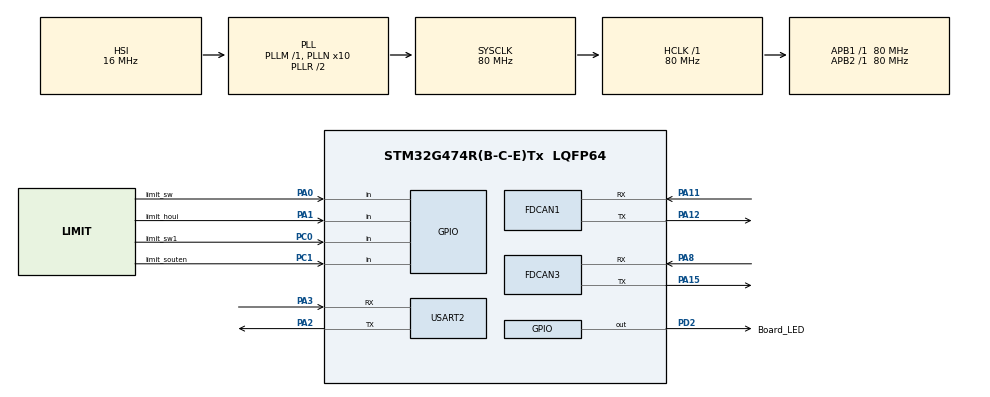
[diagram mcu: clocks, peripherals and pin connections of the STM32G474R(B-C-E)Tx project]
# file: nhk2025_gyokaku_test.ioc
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FDCAN1.CalculateBaudRateNominal=1000000
FDCAN1.CalculateTimeBitNominal=1000
FDCAN1.CalculateTimeQuantumNominal=50.0
FDCAN1.DataPrescaler=2
FDCAN1.DataTimeSeg1=15
FDCAN1.DataTimeSeg2=4
FDCAN1.FrameFormat=FDCAN_FRAME_FD_BRS
FDCAN1.NominalPrescaler=4
FDCAN1.NominalTimeSeg1=15
FDCAN1.NominalTimeSeg2=4
FDCAN1.StdFiltersNbr=1
FDCAN3.CalculateBaudRateNominal=1000000
FDCAN3.CalculateTimeBitNominal=1000
FDCAN3.CalculateTimeQuantumNominal=50.0
FDCAN3.DataPrescaler=2
FDCAN3.DataTimeSeg1=15
FDCAN3.DataTimeSeg2=4
FDCAN3.FrameFormat=FDCAN_FRAME_FD_BRS
FDCAN3.NominalPrescaler=4
FDCAN3.NominalTimeSeg1=15
FDCAN3.NominalTimeSeg2=4
FDCAN3.StdFiltersNbr=1
Mcu.Family=STM32G4
Mcu.Name=STM32G474R(B-C-E)Tx
Mcu.Package=LQFP64
NVIC.FDCAN1_IT0_IRQn=true\:0\:0\:false\:false\:true\:true\:true\:true
NVIC.FDCAN1_IT1_IRQn=true\:0\:0\:false\:false\:true\:true\:true\:true
NVIC.FDCAN3_IT0_IRQn=true\:0\:0\:false\:false\:true\:true\:true\:true
NVIC.FDCAN3_IT1_IRQn=true\:0\:0\:false\:false\:true\:true\:true\:true
NVIC.PriorityGroup=NVIC_PRIORITYGROUP_4
NVIC.TIM2_IRQn=true\:0\:0\:false\:false\:true\:true\:true\:true
NVIC.TIM6_DAC_IRQn=true\:0\:0\:false\:false\:true\:true\:true\:true
NVIC.TIM7_DAC_IRQn=true\:0\:0\:false\:false\:true\:true\:true\:true
NVIC.USART2_IRQn=true\:0\:0\:false\:false\:true\:true\:true\:true
PA0.GPIO_Label=limit_sw
PA0.GPIO_PuPd=GPIO_PULLUP
PA0.Signal=GPIO_Input
PA1.GPIO_Label=limit_houi
PA1.GPIO_PuPd=GPIO_PULLUP
PA1.Signal=GPIO_Input
PA11.Mode=FDCAN_Activate
PA11.Signal=FDCAN1_RX
PA12.Mode=FDCAN_Activate
PA12.Signal=FDCAN1_TX
PA15.Mode=FDCAN_Activate
PA15.Signal=FDCAN3_TX
PA2.Mode=Asynchronous
PA2.Signal=USART2_TX
PA3.Mode=Asynchronous
PA3.Signal=USART2_RX
PA8.Mode=FDCAN_Activate
PA8.Signal=FDCAN3_RX
PC0.GPIO_Label=limit_sw1
PC0.GPIO_PuPd=GPIO_PULLUP
PC0.Signal=GPIO_Input
PC1.GPIO_Label=limit_souten
PC1.GPIO_PuPd=GPIO_PULLUP
PC1.Signal=GPIO_Input
PD2.GPIO_Label=Board_LED
PD2.Signal=GPIO_Output
ProjectManager.HeapSize=0x200
ProjectManager.StackSize=0x400
ProjectManager.TargetToolchain=STM32CubeIDE
RCC.ADC12Freq_Value=80000000
RCC.ADC345Freq_Value=80000000
RCC.AHBFreq_Value=80000000
RCC.APB1Freq_Value=80000000
RCC.APB1TimFreq_Value=80000000
RCC.APB2Freq_Value=80000000
RCC.APB2TimFreq_Value=80000000
RCC.CortexFreq_Value=80000000
RCC.EXTERNAL_CLOCK_VALUE=12288000
RCC.HCLKFreq_Value=80000000
RCC.HSE_VALUE=8000000
RCC.HSI48_VALUE=48000000
RCC.HSI_VALUE=16000000
RCC.LSE_VALUE=32768
RCC.PLLN=10
RCC.SYSCLKFreq_VALUE=80000000
RCC.SYSCLKSource=RCC_SYSCLKSOURCE_PLLCLK
RCC.USBFreq_Value=80000000
RCC.VCOOutputFreq_Value=160000000
TIM2.PeriodNoDither=7999
TIM2.Prescaler=9
TIM6.PeriodNoDither=7999
TIM6.Prescaler=9
TIM7.PeriodNoDither=7999
TIM7.Prescaler=9
USART2.VirtualMode-Asynchronous=VM_ASYNC
VP_SYS_VS_DBSignals.Mode=DisableDeadBatterySignals
VP_TIM2_VS_ClockSourceITR.Mode=TriggerSource_ITR0
VP_TIM2_VS_ControllerModeReset.Mode=Reset Mode
VP_TIM5_VS_ClockSourceINT.Mode=Internal
VP_TIM6_VS_ClockSourceINT.Mode=Enable_Timer
VP_TIM7_VS_ClockSourceINT.Mode=Enable_Timer
board=custom

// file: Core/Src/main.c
/* USER CODE BEGIN Header */
/**
  ******************************************************************************
  * @file           : main.c
  * @brief          : Main program body
  ******************************************************************************
  * @attention
  *
  * Copyright (c) 2024 STMicroelectronics.
  * All rights reserved.
  *
  * This software is licensed under terms that can be found in the LICENSE file
  * in the root directory of this software component.
  * If no LICENSE file comes with this software, it is provided AS-IS.
  *
  ******************************************************************************
  */
/* USER CODE END Header */
#include "main.h"

/* USER CODE BEGIN Includes */
#include <stdio.h>
#include <math.h>
/* USER CODE END Includes */

/* USER CODE BEGIN PTD */
typedef struct{
	volatile uint16_t CANID;
	volatile uint8_t motorID;
	volatile int16_t actVel;
	volatile int16_t p_actVel;
	volatile int16_t actangle;
	volatile int16_t p_actangle;
	volatile int16_t actCurrent;
	volatile int16_t cu;
	volatile float motor_pos_ref;
	volatile float motor_spd;
	volatile float motor_spd_ref;
	volatile float pos_err;
	volatile float last_pos_err;
	volatile float sum_pos_err;
	volatile float sum_err;
	volatile float output_val;
	volatile uint32_t last_update_time;
	volatile float diff_pro;
	volatile float motor_pos;
	volatile int16_t trgVel;
	volatile float hensa;
	volatile float ind;
}motor;

//1:gyukaku2:houikaku3:caych4:souten

/* USER CODE END PTD */

/* USER CODE BEGIN PD */
#define GEAR 75/9

#define true 1
#define false 0
/* USER CODE END PD */

FDCAN_HandleTypeDef hfdcan1;
FDCAN_HandleTypeDef hfdcan3;

TIM_HandleTypeDef htim2;
TIM_HandleTypeDef htim5;
TIM_HandleTypeDef htim6;
TIM_HandleTypeDef htim7;

UART_HandleTypeDef huart2;

/* USER CODE BEGIN PV */
FDCAN_TxHeaderTypeDef TxHeader;
FDCAN_RxHeaderTypeDef RxHeader;
FDCAN_TxHeaderTypeDef TxHeader_motor;
FDCAN_RxHeaderTypeDef RxHeader_motor;
FDCAN_FilterTypeDef sFilterConfig;

uint8_t TxData[8] = {};
uint8_t RxData[8] = {};
uint8_t TxData_motor[8] = {};
uint8_t RxData_motor[8] = {};

motor robomas[4] = {
		{0x201, 1, 0, 0, 0, 0, 0, 0, 0, 0, 0, 0, 0, 0, 0, 0, 0, 0, 0, 0, 0, 0},
		{0x202, 2, 0, 0, 0, 0, 0, 0, 0, 0, 0, 0, 0, 0, 0, 0, 0, 0, 0, 0, 0, 0},
		{0x203, 2, 0, 0, 0, 0, 0, 0, 0, 0, 0, 0, 0, 0, 0, 0, 0, 0, 0, 0, 0, 0},
		{0x204, 2, 0, 0, 0, 0, 0, 0, 0, 0, 0, 0, 0, 0, 0, 0, 0, 0, 0, 0, 0, 0},
};

volatile uint8_t is_Right = 0, is_Left = 0, is_Up = 0, is_Down = 0, is_Circle = 0, is_Square = 0, is_Triangle = 0;
volatile uint8_t is_Cross = 0, is_UpRight = 0, is_DownRight = 0, is_UpLeft = 0, is_DownLeft = 0, is_R1 = 0, is_L1 = 0;
volatile uint8_t is_Share = 0, is_Options = 0, is_R3 = 0, is_L3 = 0, is_PsButton = 0, is_Touchpad = 0;

volatile float k_p = 7, k_i = 0.5, k_d = 0.01;

volatile float kp = 200, ki = 0, kd = 0;
float max_sum_pos_err = 10000;
float max_output_val = 10000;

volatile float purpose[4] = {0, 0, 0, 0};
volatile float purpose_r[4] = {0,0,0,0};
volatile float purpose_v[4] = {0,0,0,0};

int8_t vel_arg = 0;
int8_t vel_arg_s = 0;

uint8_t Servo = 0;
float Servo_angle = 0;

float distance;
#define hight 0.64;

float target_angle = 0;

int dribblestate = 0;

uint8_t buffer[1] = {};
uint8_t txbuffer;
uint8_t size = 1;
int8_t datapos=0;
uint8_t data[11];

float gyoukaku = 0;
float houuikaku = 0;
int uart_state = 1;

int souten_state = 0;
uint16_t souten_time = 0;
int souten_taiki = 0;

/* USER CODE END PV */

void SystemClock_Config(void);
static void MX_GPIO_Init(void);
static void MX_FDCAN1_Init(void);
static void MX_USART2_UART_Init(void);
static void MX_FDCAN3_Init(void);
static void MX_TIM6_Init(void);
static void MX_TIM7_Init(void);
static void MX_TIM2_Init(void);
static void MX_TIM5_Init(void);

/* USER CODE BEGIN 0 */
void HAL_FDCAN_RxFifo0Callback(FDCAN_HandleTypeDef *hfdcan, uint32_t RxFifo0ITs){
	if ((RxFifo0ITs & FDCAN_IT_RX_FIFO0_NEW_MESSAGE) != RESET) {

	        /* Retrieve Rx messages from RX FIFO0 */
		if (HAL_FDCAN_GetRxMessage(&hfdcan3, FDCAN_RX_FIFO0, &RxHeader_motor, RxData_motor) != HAL_OK) {
			printf("fdcan_getrxmessage_motor is error\r\n");
			Error_Handler();
		}
		/*receive robomas's status*/
		for (int i=0; i<=7; i++){
			if (RxHeader_motor.Identifier == (robomas[i].CANID)) {
				robomas[i].actangle = (int16_t)((RxData_motor[0] << 8) | RxData_motor[1]);
				robomas[i].actVel = (int16_t)((RxData_motor[2] << 8) | RxData_motor[3]);
				robomas[i].actCurrent = (int16_t)((RxData_motor[4] << 8) | RxData_motor[5]);
			}
		}
	}
}

void HAL_FDCAN_RxFifo1Callback(FDCAN_HandleTypeDef *hfdcan, uint32_t RxFifo1ITs){
	if (RESET != (RxFifo1ITs & FDCAN_IT_RX_FIFO1_NEW_MESSAGE)) {

	        /* Retrieve Rx messages from RX FIFO0 */

		if (HAL_OK != HAL_FDCAN_GetRxMessage(&hfdcan1, FDCAN_RX_FIFO1, &RxHeader, RxData)) {
			printf("fdcan_getrxmessage is error\r\n");
			Error_Handler();
		}

		if (0x300 == RxHeader.Identifier) {
			vel_arg = (int8_t)RxData[3];
			if (vel_arg < 10 && vel_arg > -10) {
				vel_arg = 0;
			}
			purpose_r[0] -= ((float)vel_arg/10000);
			vel_arg_s = (int8_t)RxData[2];
			if (vel_arg_s < 10 && vel_arg_s > -10) {
				vel_arg_s = 0;
			}
			purpose_r[1] -= ((float)vel_arg_s/100000);
			if ((RxData[6] & 0x40) == 0x40){
				is_Right = true;
			}
			else {
				is_Right = false;
			}
			if ((RxData[6] & 0x20) == 0x20){
				is_Left = true;
			}
			else {
				is_Left = false;
			}
			if ((RxData[6] & 0x10) == 0x10){
				is_Up = true;
				//printf("ok");
			}
			else {
				is_Up = false;
			}
			if ((RxData[6] & 0x8) == 0x8){
				is_Down = true;
			}
			else {
				is_Down = false;
			}
			if ((RxData[6] & 0x4) == 0x4){
				is_Circle = true;
			}
			else {
				is_Circle = false;
			}
			if ((RxData[7] & 0x40) == 0x40){
				is_Cross = true;
			}
			else {
				is_Cross = false;
			}
		}

		if (0x301 == RxHeader.Identifier) {
			if ((int8_t)RxData[1] == 1) {
				is_Right = false;
				is_Left = false;
				is_Up = false;
				is_Down = false;
			}
		}
//		if(0x310 == RxHeader.Identifier){
//			uint32_t bits = 0;
//			for(int i=0;i<4;i++){
//				bits |= ((uint32_t)RxData[i] << (i*8));
//			}
//			target_angle = *(float *)&bits;
//		}
	}
}
/*Initializing fdcan1*/
void FDCAN_RxTxSettings(void){
	FDCAN_FilterTypeDef FDCAN_Filter_settings;
	FDCAN_Filter_settings.IdType = FDCAN_STANDARD_ID;
	FDCAN_Filter_settings.FilterIndex = 0;
	FDCAN_Filter_settings.FilterType = FDCAN_FILTER_RANGE;
	FDCAN_Filter_settings.FilterConfig = FDCAN_FILTER_TO_RXFIFO1;
	FDCAN_Filter_settings.FilterID1 = 0;
	FDCAN_Filter_settings.FilterID2 = 0x7FF;

	TxHeader.Identifier = 0x000;
	TxHeader.IdType = FDCAN_STANDARD_ID;
	TxHeader.TxFrameType = FDCAN_DATA_FRAME;
	TxHeader.DataLength = FDCAN_DLC_BYTES_8;
	TxHeader.ErrorStateIndicator = FDCAN_ESI_ACTIVE;
	TxHeader.BitRateSwitch = FDCAN_BRS_ON;
	TxHeader.FDFormat = FDCAN_FD_CAN;
	TxHeader.TxEventFifoControl = FDCAN_NO_TX_EVENTS;
	TxHeader.MessageMarker = 0;

	if (HAL_OK != HAL_FDCAN_ConfigFilter(&hfdcan1, &FDCAN_Filter_settings)){
		printf("fdcan_configfilter is error\r\n");
		Error_Handler();
	}

	if (HAL_OK != HAL_FDCAN_ConfigGlobalFilter(&hfdcan1, FDCAN_REJECT, FDCAN_FILTER_REJECT, FDCAN_FILTER_REMOTE, FDCAN_FILTER_REMOTE)){
		printf("fdcan_configglobalfilter is error\r\n");
		Error_Handler();
	}

	if (HAL_OK != HAL_FDCAN_Start(&hfdcan1)) {
		printf("fdcan_start is error\r\n");
		Error_Handler();
	}

	if (HAL_OK != HAL_FDCAN_ActivateNotification(&hfdcan1, FDCAN_IT_RX_FIFO1_NEW_MESSAGE, 0)){
		printf("fdcan_activatenotification is error\r\n");
		Error_Handler();
	}
}

/*Initializing fdcan3*/
void FDCAN_motor_RxTxSettings(void) {
	FDCAN_FilterTypeDef FDCAN_Filter_settings_motor;
	FDCAN_Filter_settings_motor.IdType = FDCAN_STANDARD_ID;
	FDCAN_Filter_settings_motor.FilterIndex = 0;
	FDCAN_Filter_settings_motor.FilterType = FDCAN_FILTER_RANGE;
	FDCAN_Filter_settings_motor.FilterConfig = FDCAN_FILTER_TO_RXFIFO0;
	FDCAN_Filter_settings_motor.FilterID1 = 0x200;
	FDCAN_Filter_settings_motor.FilterID2 = 0x210;

	TxHeader_motor.Identifier = 0x200;
	TxHeader_motor.IdType = FDCAN_STANDARD_ID;
	TxHeader_motor.TxFrameType = FDCAN_DATA_FRAME;
	TxHeader_motor.DataLength = FDCAN_DLC_BYTES_8;
	TxHeader_motor.ErrorStateIndicator = FDCAN_ESI_ACTIVE;
	TxHeader_motor.BitRateSwitch = FDCAN_BRS_OFF;
	TxHeader_motor.FDFormat = FDCAN_CLASSIC_CAN;
	TxHeader_motor.TxEventFifoControl = FDCAN_NO_TX_EVENTS;
	TxHeader_motor.MessageMarker = 0;

	if (HAL_OK != HAL_FDCAN_ConfigFilter(&hfdcan3, &FDCAN_Filter_settings_motor)){
		printf("fdcan_configfilter is error\r\n");
		Error_Handler();
	}

	if (HAL_OK != HAL_FDCAN_ConfigGlobalFilter(&hfdcan3, FDCAN_REJECT, FDCAN_FILTER_REJECT, FDCAN_FILTER_REMOTE, FDCAN_FILTER_REMOTE)){
		printf("fdcan_configglobalfilter is error\r\n");
		Error_Handler();
	}

	if (HAL_OK != HAL_FDCAN_Start(&hfdcan3)) {
		printf("fdcan_start is error\r\n");
		Error_Handler();
	}

	if (HAL_OK != HAL_FDCAN_ActivateNotification(&hfdcan3, FDCAN_IT_RX_FIFO0_NEW_MESSAGE, 0)){
		printf("fdcan_activatenotification is error\r\n");
		Error_Handler();
	}
}

void HAL_TIM_PeriodElapsedCallback(TIM_HandleTypeDef *htim){
	if (&htim6 == htim) {
		for (int i = 0; i < 4; i++){
			robomas[i].hensa = robomas[i].trgVel - robomas[i].actVel;
			if (robomas[i].hensa >= 1000) robomas[i].hensa = 1000;
			else if (robomas[i].hensa <= -1000) robomas[i].hensa = -1000;
			float d = (robomas[i].actVel - robomas[i].p_actVel) / 0.001;
			robomas[i].ind += robomas[i].hensa*0.1;
			if (d >= 30000) d = 30000;
			else if (d <= -30000) d = -30000;
			if (robomas[i].ind >= 10000) robomas[i].ind = 10000;
			else if (robomas[i].ind <= -10000) robomas[i].ind = -10000;

			float t = k_p*robomas[i].hensa;
			if (t>=10000) t = 10000;
			else if (t<=-10000) t = -10000;
			robomas[i].cu = (int16_t)(t+k_i*robomas[i].ind+k_d*d);
			if (robomas[i].cu <= -10000) robomas[i].cu = -10000;
			else if (robomas[i].cu >= 10000) robomas[i].cu = 10000;

			TxData_motor[i*2] = (robomas[i].cu) >> 8;
			TxData_motor[i*2+1] = (uint8_t)((robomas[i].cu) & 0xff);
			robomas[i].p_actVel = robomas[i].actVel;
		}
		if (HAL_OK != HAL_FDCAN_AddMessageToTxFifoQ(&hfdcan3, &TxHeader_motor, TxData_motor)){
			printf("addmassage is error\r\n");
			Error_Handler();
		}

	}

	if (&htim7 == htim) {
		robomas[0].motor_pos_ref = purpose[0]/M_PI/2*GEAR*36;
//		robomas[1].motor_pos_ref = purpose[1]/M_PI/2*36*65/9;
//		robomas[2].motor_pos_ref = purpose[2]/M_PI/2*36;
		for (int i = 0; i < 3; i++) {
			robomas[i].motor_spd = (float)robomas[i].actVel / 60.0;

			robomas[i].diff_pro=robomas[i].actangle - robomas[i].p_actangle;

			float diff;
			if(robomas[i].actVel >=10000){
				diff = (robomas[i].diff_pro < 0 ? robomas[i].diff_pro + 8192 : robomas[i].diff_pro);
			}else if(robomas[i].actVel <= -10000){
				diff = (robomas[i].diff_pro > 0 ? robomas[i].diff_pro - 8192 : robomas[i].diff_pro);
			}else if( robomas[i].diff_pro < 5000 && robomas[i].diff_pro > -5000){
				diff = robomas[i].diff_pro;
			}else if (robomas[i].diff_pro > 0){
				diff = robomas[i].diff_pro - 8192;
			}else
				diff = robomas[i].diff_pro + 8192;

			robomas[i].p_actangle = robomas[i].actangle;

			float dt = 0.001;
			robomas[i].motor_pos += diff/8192.0;
			robomas[i].motor_spd = diff / 8192.0 / dt;

			float p_gain = (robomas[i].motor_pos_ref - robomas[i].motor_pos) * kp;
			robomas[i].pos_err = robomas[i].motor_pos_ref - robomas[i].motor_pos;
			if(robomas[i].pos_err>10||robomas[i].pos_err<-10){
				robomas[i].pos_err = 0;
			}
			robomas[i].sum_pos_err += robomas[i].pos_err * dt;
			robomas[i].last_pos_err = robomas[i].pos_err;
			if(robomas[i].sum_pos_err >= max_sum_pos_err){
				robomas[i].sum_pos_err = max_sum_pos_err;
			}
			else if(robomas[i].sum_pos_err <= -max_sum_pos_err){
				robomas[i].sum_pos_err = -max_sum_pos_err;
			}
			float i_gain = robomas[i].sum_pos_err * ki;

			float d_gain = robomas[i].motor_spd * kd;

			robomas[i].trgVel = p_gain + i_gain + d_gain;
		}
	}
	if (&htim2 == htim) {
		if (GPIO_PIN_SET == HAL_GPIO_ReadPin(limit_sw_GPIO_Port, limit_sw_Pin)){
			robomas[0].motor_pos = 0;
		}
		if (GPIO_PIN_SET == HAL_GPIO_ReadPin(limit_sw1_GPIO_Port, limit_sw1_Pin)){
			souten_state = 0;
			souten_taiki = 1;
		}
		if (GPIO_PIN_SET == HAL_GPIO_ReadPin(limit_houi_GPIO_Port, limit_houi_Pin)){
			robomas[1].motor_pos = -M_PI/180*20;
		}
//		if(souten_time == 1000){
//			souten_time = 0;
//			if(souten_taiki == 1){
//				souten_taiki = 0;
//				if(souten_state == 0){
//					robomas[3].trgVel = 0;
//				}else if(souten_state == 1){
//					robomas[3].trgVel = -36 * 60;
//				}else if(souten_state == -1){
//					robomas[3].trgVel = 36 * 60;
//				}
//			}
//		}else{
//			souten_time++;
//		}

	}
}

void HAL_UART_RxCpltCallback(UART_HandleTypeDef *huart){

	if(buffer[0] == 13){
		printf("ok\r\n");
		if(data[0] == 103){
			//float gyoukaku = 0;
			gyoukaku = 0;
			int syousuu = 0;
			for(int i = 1;i<datapos;i++){
				if(data[i] == 46){
					syousuu = datapos - i -1;
				}else{
					gyoukaku = gyoukaku*10 + data[i] - 48;
				}
			}
			for(int i = 0;i<syousuu;i++){
				gyoukaku = gyoukaku/10;
			}
			printf("moto:%f\r\n",gyoukaku);
			gyoukaku = gyoukaku*M_PI/180;
			printf("gyoukaku:%.4f\r\n",gyoukaku);
		}else if(data[0] == 104){
			//float houuikaku = 0;
			houuikaku = 0;
			int syousuu = 0;
			for(int i = 1;i<datapos;i++){
				if(data[i] == 46){
					syousuu = datapos - i -1;
				}else{
					houuikaku = houuikaku*10 + data[i] - 48;
				}
			}
			for(int i = 0;i<syousuu;i++){
				houuikaku = houuikaku/10;
			}
			printf("moto:%f\r\n",houuikaku);
			houuikaku = houuikaku*M_PI/180;
			printf("houuikaku:%.4f\r\n",houuikaku);
		}else if(data[0] == 117){
			uart_state = -uart_state;
		}else if(data[0] == 115){
			souten_state = 1;
			souten_taiki = 1;
		}else if(data[0] == 116){
			souten_state = -1;
			souten_taiki = 1;
		}
		for(int i =0;i < datapos;i++){
			//printf("%d\r\n",data[i]);
			printf("i:%d,data:%d\r\n",i,data[i]);

			data[i] = 0;
		}
		datapos = -1;
	}else{
		data[datapos] = buffer[0];
		datapos++;
	}
	HAL_UART_Receive_IT(&huart2, buffer, size);
}

void HAL_UART_ErrorCallback(UART_HandleTypeDef *huart){
	printf("uart_error\r\n");
	HAL_UART_Abort(huart);
	HAL_UART_Receive_IT(&huart2, buffer, size);
}

int _write(int file, char *ptr, int len)
{
    HAL_UART_Transmit(&huart2,(uint8_t *)ptr,len,10);
    return len;
}
/* USER CODE END 0 */

int main(void)
{

  /* USER CODE BEGIN 1 */
	setbuf(stdout, NULL);
  /* USER CODE END 1 */

  /* MCU Configuration--------------------------------------------------------*/

  /* Reset of all peripherals, Initializes the Flash interface and the Systick. */
  HAL_Init();

  /* Configure the system clock */
  SystemClock_Config();

  /* Initialize all configured peripherals */
  MX_GPIO_Init();
  MX_FDCAN1_Init();
  MX_USART2_UART_Init();
  MX_FDCAN3_Init();
  MX_TIM6_Init();
  MX_TIM7_Init();
  MX_TIM2_Init();
  MX_TIM5_Init();
  /* USER CODE BEGIN 2 */
  printf("start\r\n");
  FDCAN_motor_RxTxSettings();//Initialize fdcan3
  printf("can_motor_start\r\n");
  FDCAN_RxTxSettings();//Initialize fdcan1
  printf("can start\r\n");
  HAL_TIM_Base_Start_IT(&htim6);
  HAL_TIM_Base_Start_IT(&htim7);
  HAL_TIM_Base_Start_IT(&htim2);
  HAL_UART_Receive_IT(&huart2, buffer, size);
  //HAL_TIM_PWM_Start_IT(&htim1,TIM_CHANNEL_1);

  while (GPIO_PIN_RESET == HAL_GPIO_ReadPin(limit_sw_GPIO_Port, limit_sw_Pin)){
  	  robomas[0].trgVel = -100*36;
  }
  //printf("ok\r\n");
//  while (GPIO_PIN_RESET == HAL_GPIO_ReadPin(limit_sw1_GPIO_Port, limit_sw1_Pin)){
//    	  robomas[2].trgVel = -100*36;
//  }
//  while (GPIO_PIN_RESET == HAL_GPIO_ReadPin(limit_houi_GPIO_Port, limit_houi_Pin)){
//      	  robomas[1].trgVel = -100*36;
//  }
//  robomas[1].motor_pos = -M_PI/180*20;
//  purpose[1] = 0

  //printf("ok\r\n");
  //__HAL_TIM_SET_COMPARE(&htim1,TIM_CHANNEL_1,58);
  /* USER CODE END 2 */

  /* Infinite loop */
  /* USER CODE BEGIN WHILE */
  while (1)
  {
	  if(uart_state == 1){
		  purpose[0] = purpose_r[0]*1 + purpose[0]*0;
		  purpose[1] = purpose_r[1]*1 + purpose[1]*0;

	  }else if(uart_state == -1){
		  purpose[0] = gyoukaku*1 + purpose[0]*0;
		  purpose[1] = houuikaku*1 + purpose[1]*0;
	  }
	  if (purpose[0] < 0) {
		  purpose[0] = 0;
	  }
	  else if (purpose[0] > (M_PI/180*90)) {
		  purpose[0] = (M_PI/180*90);
	  }

	  if (purpose[2] < 0) {
		  purpose[2] = 0;
	  }
	  else if (purpose[2] > (M_PI/180*90)) {
		  purpose[2] = (M_PI/180*90);
	  }
	  if (purpose[1] > (M_PI/180*20)) {
		  purpose[1] = (M_PI/180*20);
	  }else if (purpose[1] < -(M_PI/180*20)) {
		  purpose[2] = -(M_PI/180*20);
	  }
	  if (true == is_Circle) {
		  robomas[3].trgVel = -36 * 60;
		  printf("ok\r\n");
	  }
	  else if (true == is_Cross) {
		  robomas[3].trgVel = 36 * 60;
		  //printf("ok\r\n");
	  }else {
		  robomas[3].trgVel = 0;
	  }

	  if(true == is_Up){
		  purpose[2] += 0.01;
		  //printf("up\r\n");
	  }else if(true == is_Down){
		  purpose[2] -= 0.01;
		  //printf("down\r\n");

	  }
	  if(Servo < 25){
		  Servo = 25;
	  }else if(Servo >120){
		  Servo = 120;
	  }
	  Servo_angle = ((float)Servo - 60.0)*180.0/95.0;
	  float tan_angle =tan((90-Servo_angle)*3.14/180);
	  distance = 0.64 * tan_angle;
	  //__HAL_TIM_SET_COMPARE(&htim1,TIM_CHANNEL_1,Servo);
	  //printf("%d,%f,%f\r\n",Servo,Servo_angle,distance);
	  printf("%f %f\r\n", -robomas[0].motor_pos*M_PI*2/GEAR/36, purpose[0]/M_PI*180);
	  //printf("%f %f\r\n", -robomas[2].motor_pos*M_PI*2/36, purpose[2]/M_PI*180);
	  //printf("g:%f,s:%f\r\n",purpose[0],purpose[1]);
	  //printf("state:%d,time:%d\r\n",souten_state,souten_time);
	  if(dribblestate == 1){
		  purpose[0] = (M_PI/180*70);
		  HAL_Delay(10000);
		  dribblestate = 0;
	  }

	  HAL_Delay(10);
    /* USER CODE END WHILE */

  }
}

void SystemClock_Config(void)
{
  RCC_OscInitTypeDef RCC_OscInitStruct = {0};
  RCC_ClkInitTypeDef RCC_ClkInitStruct = {0};

  /** Configure the main internal regulator output voltage
  */
  HAL_PWREx_ControlVoltageScaling(PWR_REGULATOR_VOLTAGE_SCALE1);

  /** Initializes the RCC Oscillators according to the specified parameters
  * in the RCC_OscInitTypeDef structure.
  */
  RCC_OscInitStruct.OscillatorType = RCC_OSCILLATORTYPE_HSI;
  RCC_OscInitStruct.HSIState = RCC_HSI_ON;
  RCC_OscInitStruct.HSICalibrationValue = RCC_HSICALIBRATION_DEFAULT;
  RCC_OscInitStruct.PLL.PLLState = RCC_PLL_ON;
  RCC_OscInitStruct.PLL.PLLSource = RCC_PLLSOURCE_HSI;
  RCC_OscInitStruct.PLL.PLLM = RCC_PLLM_DIV1;
  RCC_OscInitStruct.PLL.PLLN = 10;
  RCC_OscInitStruct.PLL.PLLP = RCC_PLLP_DIV2;
  RCC_OscInitStruct.PLL.PLLQ = RCC_PLLQ_DIV2;
  RCC_OscInitStruct.PLL.PLLR = RCC_PLLR_DIV2;
  if (HAL_RCC_OscConfig(&RCC_OscInitStruct) != HAL_OK)
  {
    Error_Handler();
  }

  /** Initializes the CPU, AHB and APB buses clocks
  */
  RCC_ClkInitStruct.ClockType = RCC_CLOCKTYPE_HCLK|RCC_CLOCKTYPE_SYSCLK
                              |RCC_CLOCKTYPE_PCLK1|RCC_CLOCKTYPE_PCLK2;
  RCC_ClkInitStruct.SYSCLKSource = RCC_SYSCLKSOURCE_PLLCLK;
  RCC_ClkInitStruct.AHBCLKDivider = RCC_SYSCLK_DIV1;
  RCC_ClkInitStruct.APB1CLKDivider = RCC_HCLK_DIV1;
  RCC_ClkInitStruct.APB2CLKDivider = RCC_HCLK_DIV1;

  if (HAL_RCC_ClockConfig(&RCC_ClkInitStruct, FLASH_LATENCY_2) != HAL_OK)
  {
    Error_Handler();
  }
}

static void MX_FDCAN1_Init(void)
{

  hfdcan1.Instance = FDCAN1;
  hfdcan1.Init.ClockDivider = FDCAN_CLOCK_DIV1;
  hfdcan1.Init.FrameFormat = FDCAN_FRAME_FD_BRS;
  hfdcan1.Init.Mode = FDCAN_MODE_NORMAL;
  hfdcan1.Init.AutoRetransmission = DISABLE;
  hfdcan1.Init.TransmitPause = DISABLE;
  hfdcan1.Init.ProtocolException = DISABLE;
  hfdcan1.Init.NominalPrescaler = 4;
  hfdcan1.Init.NominalSyncJumpWidth = 1;
  hfdcan1.Init.NominalTimeSeg1 = 15;
  hfdcan1.Init.NominalTimeSeg2 = 4;
  hfdcan1.Init.DataPrescaler = 2;
  hfdcan1.Init.DataSyncJumpWidth = 1;
  hfdcan1.Init.DataTimeSeg1 = 15;
  hfdcan1.Init.DataTimeSeg2 = 4;
  hfdcan1.Init.StdFiltersNbr = 1;
  hfdcan1.Init.ExtFiltersNbr = 0;
  hfdcan1.Init.TxFifoQueueMode = FDCAN_TX_FIFO_OPERATION;
  if (HAL_FDCAN_Init(&hfdcan1) != HAL_OK)
  {
    Error_Handler();
  }

}

static void MX_FDCAN3_Init(void)
{

  hfdcan3.Instance = FDCAN3;
  hfdcan3.Init.ClockDivider = FDCAN_CLOCK_DIV1;
  hfdcan3.Init.FrameFormat = FDCAN_FRAME_FD_BRS;
  hfdcan3.Init.Mode = FDCAN_MODE_NORMAL;
  hfdcan3.Init.AutoRetransmission = DISABLE;
  hfdcan3.Init.TransmitPause = DISABLE;
  hfdcan3.Init.ProtocolException = DISABLE;
  hfdcan3.Init.NominalPrescaler = 4;
  hfdcan3.Init.NominalSyncJumpWidth = 1;
  hfdcan3.Init.NominalTimeSeg1 = 15;
  hfdcan3.Init.NominalTimeSeg2 = 4;
  hfdcan3.Init.DataPrescaler = 2;
  hfdcan3.Init.DataSyncJumpWidth = 1;
  hfdcan3.Init.DataTimeSeg1 = 15;
  hfdcan3.Init.DataTimeSeg2 = 4;
  hfdcan3.Init.StdFiltersNbr = 1;
  hfdcan3.Init.ExtFiltersNbr = 0;
  hfdcan3.Init.TxFifoQueueMode = FDCAN_TX_FIFO_OPERATION;
  if (HAL_FDCAN_Init(&hfdcan3) != HAL_OK)
  {
    Error_Handler();
  }

}

static void MX_TIM2_Init(void)
{

  TIM_SlaveConfigTypeDef sSlaveConfig = {0};
  TIM_MasterConfigTypeDef sMasterConfig = {0};

  htim2.Instance = TIM2;
  htim2.Init.Prescaler = 9;
  htim2.Init.CounterMode = TIM_COUNTERMODE_UP;
  htim2.Init.Period = 7999;
  htim2.Init.ClockDivision = TIM_CLOCKDIVISION_DIV1;
  htim2.Init.AutoReloadPreload = TIM_AUTORELOAD_PRELOAD_DISABLE;
  if (HAL_TIM_Base_Init(&htim2) != HAL_OK)
  {
    Error_Handler();
  }
  sSlaveConfig.SlaveMode = TIM_SLAVEMODE_RESET;
  sSlaveConfig.InputTrigger = TIM_TS_ITR0;
  if (HAL_TIM_SlaveConfigSynchro(&htim2, &sSlaveConfig) != HAL_OK)
  {
    Error_Handler();
  }
  sMasterConfig.MasterOutputTrigger = TIM_TRGO_RESET;
  sMasterConfig.MasterSlaveMode = TIM_MASTERSLAVEMODE_DISABLE;
  if (HAL_TIMEx_MasterConfigSynchronization(&htim2, &sMasterConfig) != HAL_OK)
  {
    Error_Handler();
  }

}

static void MX_TIM5_Init(void)
{

  TIM_ClockConfigTypeDef sClockSourceConfig = {0};
  TIM_MasterConfigTypeDef sMasterConfig = {0};

  htim5.Instance = TIM5;
  htim5.Init.Prescaler = 0;
  htim5.Init.CounterMode = TIM_COUNTERMODE_UP;
  htim5.Init.Period = 4294967295;
  htim5.Init.ClockDivision = TIM_CLOCKDIVISION_DIV1;
  htim5.Init.AutoReloadPreload = TIM_AUTORELOAD_PRELOAD_DISABLE;
  if (HAL_TIM_Base_Init(&htim5) != HAL_OK)
  {
    Error_Handler();
  }
  sClockSourceConfig.ClockSource = TIM_CLOCKSOURCE_INTERNAL;
  if (HAL_TIM_ConfigClockSource(&htim5, &sClockSourceConfig) != HAL_OK)
  {
    Error_Handler();
  }
  sMasterConfig.MasterOutputTrigger = TIM_TRGO_RESET;
  sMasterConfig.MasterSlaveMode = TIM_MASTERSLAVEMODE_DISABLE;
  if (HAL_TIMEx_MasterConfigSynchronization(&htim5, &sMasterConfig) != HAL_OK)
  {
    Error_Handler();
  }

}

static void MX_TIM6_Init(void)
{

  TIM_MasterConfigTypeDef sMasterConfig = {0};

  htim6.Instance = TIM6;
  htim6.Init.Prescaler = 9;
  htim6.Init.CounterMode = TIM_COUNTERMODE_UP;
  htim6.Init.Period = 7999;
  htim6.Init.AutoReloadPreload = TIM_AUTORELOAD_PRELOAD_DISABLE;
  if (HAL_TIM_Base_Init(&htim6) != HAL_OK)
  {
    Error_Handler();
  }
  sMasterConfig.MasterOutputTrigger = TIM_TRGO_RESET;
  sMasterConfig.MasterSlaveMode = TIM_MASTERSLAVEMODE_DISABLE;
  if (HAL_TIMEx_MasterConfigSynchronization(&htim6, &sMasterConfig) != HAL_OK)
  {
    Error_Handler();
  }

}

static void MX_TIM7_Init(void)
{

  TIM_MasterConfigTypeDef sMasterConfig = {0};

  htim7.Instance = TIM7;
  htim7.Init.Prescaler = 9;
  htim7.Init.CounterMode = TIM_COUNTERMODE_UP;
  htim7.Init.Period = 7999;
  htim7.Init.AutoReloadPreload = TIM_AUTORELOAD_PRELOAD_DISABLE;
  if (HAL_TIM_Base_Init(&htim7) != HAL_OK)
  {
    Error_Handler();
  }
  sMasterConfig.MasterOutputTrigger = TIM_TRGO_RESET;
  sMasterConfig.MasterSlaveMode = TIM_MASTERSLAVEMODE_DISABLE;
  if (HAL_TIMEx_MasterConfigSynchronization(&htim7, &sMasterConfig) != HAL_OK)
  {
    Error_Handler();
  }

}

static void MX_USART2_UART_Init(void)
{

  huart2.Instance = USART2;
  huart2.Init.BaudRate = 115200;
  huart2.Init.WordLength = UART_WORDLENGTH_8B;
  huart2.Init.StopBits = UART_STOPBITS_1;
  huart2.Init.Parity = UART_PARITY_NONE;
  huart2.Init.Mode = UART_MODE_TX_RX;
  huart2.Init.HwFlowCtl = UART_HWCONTROL_NONE;
  huart2.Init.OverSampling = UART_OVERSAMPLING_16;
  huart2.Init.OneBitSampling = UART_ONE_BIT_SAMPLE_DISABLE;
  huart2.Init.ClockPrescaler = UART_PRESCALER_DIV1;
  huart2.AdvancedInit.AdvFeatureInit = UART_ADVFEATURE_NO_INIT;
  if (HAL_UART_Init(&huart2) != HAL_OK)
  {
    Error_Handler();
  }
  if (HAL_UARTEx_SetTxFifoThreshold(&huart2, UART_TXFIFO_THRESHOLD_1_8) != HAL_OK)
  {
    Error_Handler();
  }
  if (HAL_UARTEx_SetRxFifoThreshold(&huart2, UART_RXFIFO_THRESHOLD_1_8) != HAL_OK)
  {
    Error_Handler();
  }
  if (HAL_UARTEx_DisableFifoMode(&huart2) != HAL_OK)
  {
    Error_Handler();
  }

}

static void MX_GPIO_Init(void)
{
  GPIO_InitTypeDef GPIO_InitStruct = {0};

  /* GPIO Ports Clock Enable */
  __HAL_RCC_GPIOC_CLK_ENABLE();
  __HAL_RCC_GPIOA_CLK_ENABLE();
  __HAL_RCC_GPIOD_CLK_ENABLE();

  /*Configure GPIO pin Output Level */
  HAL_GPIO_WritePin(Board_LED_GPIO_Port, Board_LED_Pin, GPIO_PIN_RESET);

  /*Configure GPIO pins : limit_sw1_Pin limit_souten_Pin */
  GPIO_InitStruct.Pin = limit_sw1_Pin|limit_souten_Pin;
  GPIO_InitStruct.Mode = GPIO_MODE_INPUT;
  GPIO_InitStruct.Pull = GPIO_PULLUP;
  HAL_GPIO_Init(GPIOC, &GPIO_InitStruct);

  /*Configure GPIO pins : limit_sw_Pin limit_houi_Pin */
  GPIO_InitStruct.Pin = limit_sw_Pin|limit_houi_Pin;
  GPIO_InitStruct.Mode = GPIO_MODE_INPUT;
  GPIO_InitStruct.Pull = GPIO_PULLUP;
  HAL_GPIO_Init(GPIOA, &GPIO_InitStruct);

  /*Configure GPIO pin : Board_LED_Pin */
  GPIO_InitStruct.Pin = Board_LED_Pin;
  GPIO_InitStruct.Mode = GPIO_MODE_OUTPUT_PP;
  GPIO_InitStruct.Pull = GPIO_NOPULL;
  GPIO_InitStruct.Speed = GPIO_SPEED_FREQ_LOW;
  HAL_GPIO_Init(Board_LED_GPIO_Port, &GPIO_InitStruct);

}

void Error_Handler(void)
{
  /* USER CODE BEGIN Error_Handler_Debug */
  /* User can add his own implementation to report the HAL error return state */
  __disable_irq();
  printf("error\r\n");
  while (1)
  {
  }
  /* USER CODE END Error_Handler_Debug */
}
